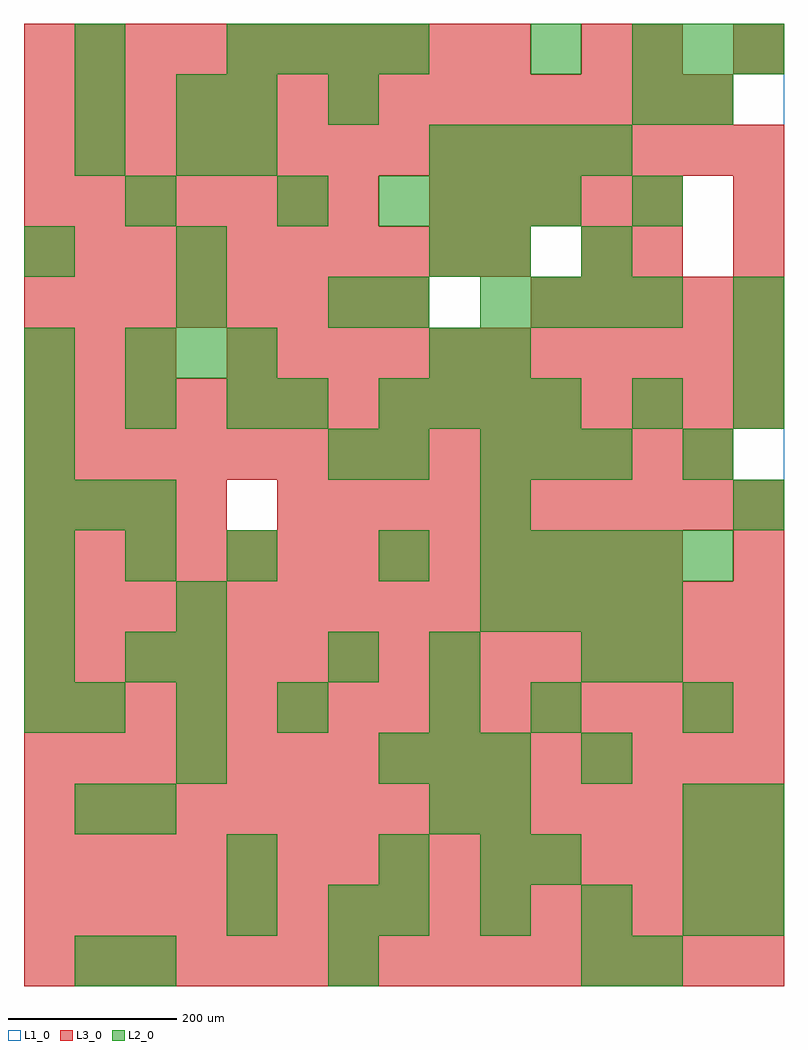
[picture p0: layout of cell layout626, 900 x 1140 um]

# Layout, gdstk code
import gdstk
lib = gdstk.Library(unit=1e-6, precision=1e-09)
def R(c, l, rs):  # rectangles x0, y0, x1, y1
    for r in rs: c.add(gdstk.rectangle(r[:2], r[2:], *l))
def A(c, l, x, y, w, h, nx, ny, dx, dy):  # array of equal rectangles
    R(c, l, [(x+i*dx, y+j*dy, x+i*dx+w, y+j*dy+h) for i in range(nx) for j in range(ny)])
L1_0 = (1, 0)
L2_0 = (2, 0)
L3_0 = (3, 0)

layout626 = lib.new_cell('layout626')
R(layout626, L1_0, [(0,0,900,1140)])
A(layout626, L2_0, 120, 0, 60, 60, 1, 3, 0, 180)
A(layout626, L2_0, 420, 60, 60, 60, 4, 1, 120, 0)
A(layout626, L2_0, 840, 60, 60, 60, 1, 3, 0, 60)
A(layout626, L2_0, 420, 240, 60, 60, 3, 1, 60, 0)
A(layout626, L2_0, 0, 300, 60, 60, 1, 3, 0, 60)
A(layout626, L2_0, 60, 300, 60, 60, 3, 1, 120, 0)
A(layout626, L2_0, 540, 420, 60, 60, 4, 2, 60, 360)
A(layout626, L2_0, 0, 480, 60, 60, 3, 2, 120, 180)
A(layout626, L2_0, 540, 480, 60, 60, 5, 1, 60, 0)
A(layout626, L2_0, 0, 540, 60, 60, 3, 1, 60, 0)
A(layout626, L2_0, 0, 600, 60, 60, 1, 3, 0, 120)
A(layout626, L2_0, 540, 600, 60, 60, 3, 1, 60, 0)
A(layout626, L2_0, 420, 660, 60, 60, 4, 2, 60, 240)
A(layout626, L2_0, 840, 660, 60, 60, 1, 3, 0, 60)
A(layout626, L2_0, 120, 720, 60, 60, 3, 1, 60, 0)
A(layout626, L2_0, 60, 960, 60, 60, 1, 3, 0, 60)
A(layout626, L2_0, 480, 960, 60, 60, 4, 1, 60, 0)
A(layout626, L2_0, 240, 1080, 60, 60, 4, 1, 60, 0)
A(layout626, L2_0, 720, 1080, 60, 60, 3, 1, 60, 0)
R(layout626, L2_0, [(60,0,120,60), (360,0,420,60), (660,0,720,60), (720,0,780,60), (240,60,300,120), (360,60,420,120), (240,120,300,180), (420,120,480,180), (540,120,600,180), (600,120,660,180), (780,120,840,180), (60,180,120,240), (480,180,540,240), (540,180,600,240), (780,180,840,240), (180,240,240,300), (660,240,720,300), (480,300,540,360), (600,300,660,360), (780,300,840,360), (180,360,240,420), (360,360,420,420), (480,360,540,420), (660,360,720,420), (720,360,780,420), (180,420,240,480), (420,480,480,540), (540,540,600,600), (840,540,900,600), (360,600,420,660), (420,600,480,660), (780,600,840,660), (300,660,360,720), (720,660,780,720), (480,720,540,780), (540,720,600,780), (180,780,240,840), (360,780,420,840), (420,780,480,840), (180,840,240,900), (480,840,540,900), (540,840,600,900), (660,840,720,900), (120,900,180,960), (300,900,360,960), (720,900,780,960), (180,960,240,1020), (240,960,300,1020), (180,1020,240,1080), (240,1020,300,1080), (360,1020,420,1080), (720,1020,780,1080), (780,1020,840,1080), (600,1080,660,1140)])
A(layout626, L3_0, 0, 0, 60, 60, 15, 8, 60, 60)
A(layout626, L3_0, 0, 480, 60, 60, 13, 1, 60, 0)
A(layout626, L3_0, 0, 540, 60, 60, 4, 1, 60, 0)
A(layout626, L3_0, 300, 540, 60, 60, 10, 1, 60, 0)
A(layout626, L3_0, 0, 600, 60, 60, 14, 2, 60, 420)
A(layout626, L3_0, 0, 660, 60, 60, 15, 2, 60, 300)
A(layout626, L3_0, 0, 720, 60, 60, 3, 1, 60, 0)
A(layout626, L3_0, 240, 720, 60, 60, 11, 1, 60, 0)
A(layout626, L3_0, 0, 780, 60, 60, 8, 1, 60, 0)
A(layout626, L3_0, 600, 780, 60, 60, 5, 1, 60, 0)
A(layout626, L3_0, 0, 840, 60, 60, 10, 2, 60, 240)
A(layout626, L3_0, 0, 900, 60, 60, 7, 1, 60, 0)
A(layout626, L3_0, 480, 900, 60, 60, 5, 1, 60, 0)
R(layout626, L3_0, [(840,480,900,540), (660,840,720,900), (720,840,780,900), (840,840,900,900), (840,900,900,960), (660,1080,720,1140), (720,1080,780,1140), (840,1080,900,1140)])

lib.write_gds('layout626.gds')
